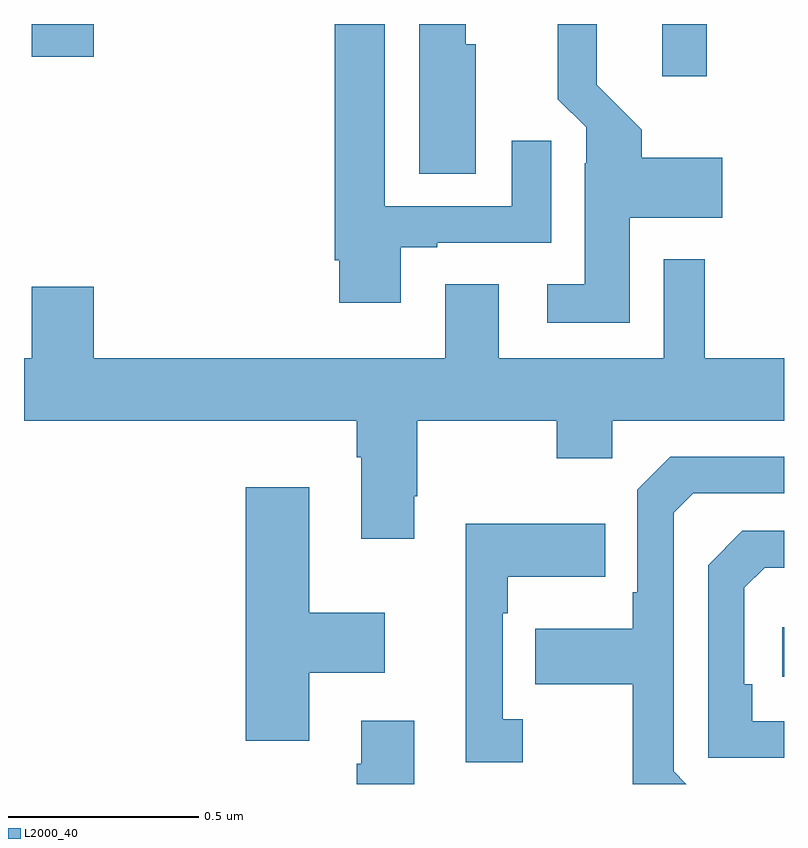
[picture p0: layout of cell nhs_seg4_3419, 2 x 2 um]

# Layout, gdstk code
import gdstk
lib = gdstk.Library(unit=1e-6, precision=1e-09)
def R(c, l, rs):  # rectangles x0, y0, x1, y1
    for r in rs: c.add(gdstk.rectangle(r[:2], r[2:], *l))
def P(c, l, *ps):  # polygons
    for p in ps: c.add(gdstk.Polygon(p, *l))
L2000_40 = (2000, 40)

nhs_seg4_3419 = lib.new_cell('nhs_seg4_3419')
R(nhs_seg4_3419, L2000_40, [(154.995,760.182,155,760.312), (154.679,761.763,154.797,761.9), (153.02,761.814,153.184,761.9)])
P(nhs_seg4_3419, L2000_40, [(154.594,761.39),(154.837,761.39),(154.837,761.548),(154.625,761.548),(154.625,761.622),(154.507,761.74),(154.507,761.9),(154.405,761.9),(154.405,761.702),(154.479,761.628),(154.479,761.534),(154.475,761.534),(154.475,761.215),(154.377,761.215),(154.377,761.114),(154.594,761.114)],
  [(153.991,761.313),(154.087,761.313),(154.087,761.325),(154.387,761.325),(154.387,761.593),(154.283,761.593),(154.283,761.421),(153.949,761.421),(153.949,761.9),(153.818,761.9),(153.818,761.278),(153.83,761.278),(153.83,761.166),(153.991,761.166)],
  [(154.189,761.847),(154.162,761.847),(154.162,761.9),(154.04,761.9),(154.04,761.506),(154.189,761.506)],
  [(154.027,760.657),(154.035,760.657),(154.035,760.856),(154.402,760.856),(154.402,760.757),(154.548,760.757),(154.548,760.856),(155,760.856),(155,761.02),(154.792,761.02),(154.792,761.281),(154.683,761.281),(154.683,761.02),(154.249,761.02),(154.249,761.215),(154.109,761.215),(154.109,761.02),(153.184,761.02),(153.184,761.209),(153.02,761.209),(153.02,761.02),(153,761.02),(153,760.856),(153.875,760.856),(153.875,760.76),(153.887,760.76),(153.887,760.545),(154.027,760.545)],
  [(154.71,759.933),(154.71,760.614),(154.761,760.665),(155,760.665),(155,760.761),(154.701,760.761),(154.614,760.674),(154.614,760.405),(154.602,760.405),(154.602,760.309),(154.345,760.309),(154.345,760.162),(154.602,760.162),(154.602,759.9),(154.743,759.9)],
  [(153.751,760.193),(153.949,760.193),(153.949,760.351),(153.751,760.351),(153.751,760.681),(153.584,760.681),(153.584,760.014),(153.751,760.014)],
  [(154.312,760.07),(154.26,760.07),(154.26,760.349),(154.273,760.349),(154.273,760.445),(154.529,760.445),(154.529,760.585),(154.163,760.585),(154.163,759.957),(154.312,759.957)],
  [(155,760.065),(154.916,760.065),(154.916,760.162),(154.896,760.162),(154.896,760.416),(154.949,760.469),(155,760.469),(155,760.566),(154.89,760.566),(154.8,760.476),(154.8,759.969),(155,759.969)],
  [(154.027,760.066),(153.887,760.066),(153.887,759.953),(153.875,759.953),(153.875,759.9),(154.027,759.9)])

lib.write_gds('nhs_seg4_3419.gds')
